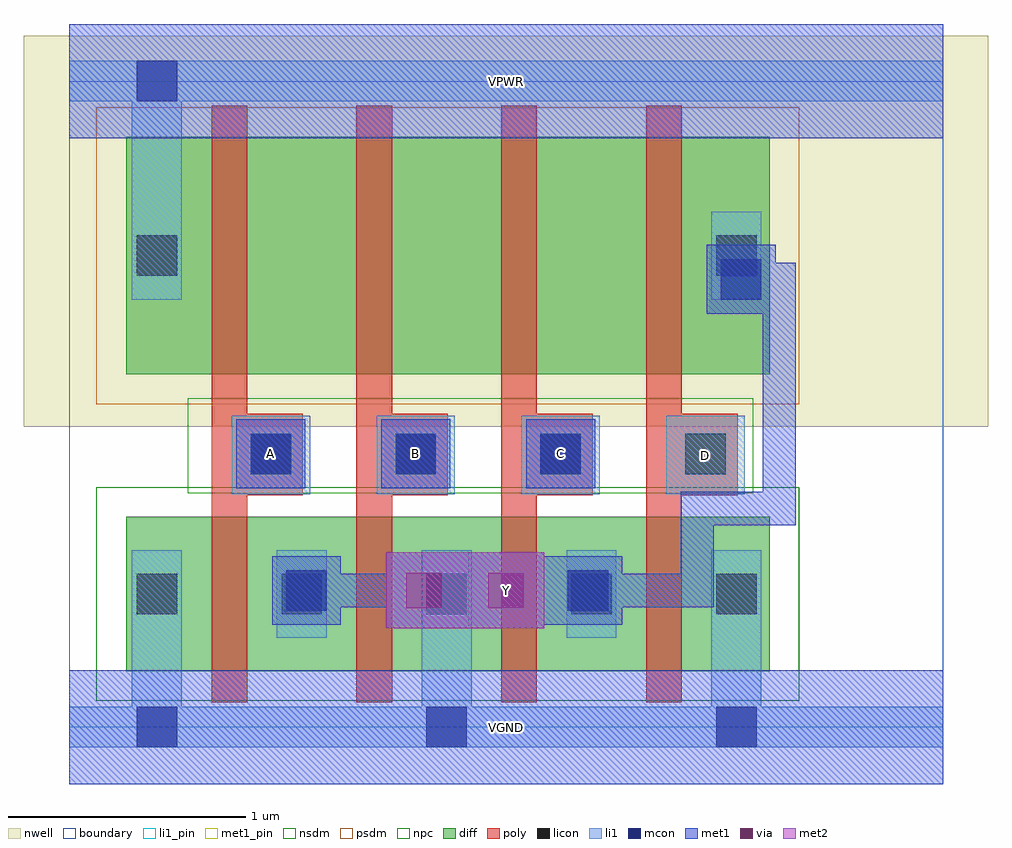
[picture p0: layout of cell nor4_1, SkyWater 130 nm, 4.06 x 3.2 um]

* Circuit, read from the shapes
.subckt nor4_1 A B C D VGND VPWR Y
XM1 Y A VGND VSUBS sky130_fd_pr__nfet_01v8 w=0.65 l=0.15
XM2 VGND B Y VSUBS sky130_fd_pr__nfet_01v8 w=0.65 l=0.15
XM3 Y C VGND VSUBS sky130_fd_pr__nfet_01v8 w=0.65 l=0.15
XM4 VGND D Y VSUBS sky130_fd_pr__nfet_01v8 w=0.65 l=0.15
XM5 n1 A VPWR n2 sky130_fd_pr__pfet_01v8 w=1 l=0.15
XM6 n3 B n1 n2 sky130_fd_pr__pfet_01v8 w=1 l=0.15
XM7 n4 C n3 n2 sky130_fd_pr__pfet_01v8 w=1 l=0.15
XM8 Y D n4 n2 sky130_fd_pr__pfet_01v8 w=1 l=0.15
.ends

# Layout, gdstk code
import gdstk
lib = gdstk.Library(unit=1e-6, precision=1e-09)
def R(c, l, rs):  # rectangles x0, y0, x1, y1
    for r in rs: c.add(gdstk.rectangle(r[:2], r[2:], *l))
def A(c, l, x, y, w, h, nx, ny, dx, dy):  # array of equal rectangles
    R(c, l, [(x+i*dx, y+j*dy, x+i*dx+w, y+j*dy+h) for i in range(nx) for j in range(ny)])
nwell = (64, 20)
diff = (65, 20)
poly = (66, 20)
licon = (66, 44)
li1_pin = (67, 16)
li1 = (67, 20)
mcon = (67, 44)
met1_pin = (68, 16)
met1 = (68, 20)
via = (68, 44)
met2 = (69, 20)
nsdm = (93, 44)
psdm = (94, 20)
npc = (95, 20)
boundary = (235, 4)

nor4_1 = lib.new_cell('nor4_1')
R(nor4_1, nwell, [(-0.19,1.265,3.87,2.91), (0,1.265,3.68,2.91)])
R(nor4_1, diff, [(0.24,0.235,2.95,0.885), (0.24,1.485,2.95,2.485)])
A(nor4_1, poly, 0.6, 0.105, 0.15, 2.51, 4, 1, 0.61, 0)
A(nor4_1, poly, 0.6, 0.975, 0.385, 0.345, 4, 1, 0.61, 0)
A(nor4_1, licon, 0.285, 0.475, 0.17, 0.17, 5, 1, 0.61, 0)
A(nor4_1, licon, 0.765, 1.065, 0.17, 0.17, 4, 1, 0.61, 0)
R(nor4_1, licon, [(0.285,1.9,0.455,2.07), (2.725,1.9,2.895,2.07)])
R(nor4_1, li1_pin, [(2.515,0.98,2.845,1.31)])
A(nor4_1, li1, 0.265, -0.085, 0.21, 0.83, 3, 1, 1.22, 0)
A(nor4_1, li1, 0.685, 0.98, 0.33, 0.33, 4, 1, 0.61, 0)
R(nor4_1, li1, [(0,-0.085,3.68,0.085), (0.875,0.375,1.085,0.745), (2.095,0.375,2.305,0.745), (0.265,1.8,0.475,2.805), (2.705,1.8,2.915,2.17), (0,2.635,3.68,2.805)])
A(nor4_1, mcon, 0.285, -0.085, 0.17, 0.17, 3, 1, 1.22, 0)
A(nor4_1, mcon, 0.765, 1.065, 0.17, 0.17, 3, 1, 0.61, 0)
R(nor4_1, mcon, [(0.915,0.49,1.085,0.66), (2.1,0.49,2.27,0.66), (2.745,1.8,2.915,1.97), (0.285,2.635,0.455,2.805)])
A(nor4_1, met1_pin, 0.705, 1.005, 0.29, 0.29, 3, 1, 0.61, 0)
R(nor4_1, met1_pin, [(0,-0.24,3.68,0.24), (1.68,0.415,2,0.735), (0,2.48,3.68,2.96)])
A(nor4_1, met1, 0.705, 1.005, 0.29, 0.29, 3, 1, 0.61, 0)
R(nor4_1, met1, [(0,-0.24,3.68,0.24), (1.335,0.415,1.655,0.735), (1.655,0.415,1.68,0.735), (1.68,0.415,2,0.735), (0.855,0.43,1.145,0.72), (2,0.43,2.04,0.72), (2.04,0.43,2.33,0.72), (0.93,0.505,1.22,0.645), (1.08,0.505,1.565,0.645), (1.565,0.505,1.68,0.645), (1.655,0.505,1.77,0.645), (1.77,0.505,2.255,0.645), (2.115,0.505,2.715,0.645), (2.575,0.505,2.715,0.99), (2.575,0.85,3.06,0.99), (2.92,0.85,3.06,1.795), (2.92,1.655,3.06,1.955), (2.685,1.74,2.975,2.03), (2.76,1.815,3.06,1.955), (0,2.48,3.68,2.96)])
R(nor4_1, via, [(1.42,0.5,1.57,0.65), (1.765,0.5,1.915,0.65)])
R(nor4_1, met2, [(1.335,0.415,1.655,0.735), (1.655,0.415,1.68,0.735), (1.68,0.415,2,0.735), (1.425,0.505,1.91,0.645)])
R(nor4_1, nsdm, [(0.115,0.11,3.075,1.01)])
R(nor4_1, psdm, [(0.115,1.36,3.075,2.61)])
R(nor4_1, npc, [(0.5,0.985,2.88,1.385)])
R(nor4_1, boundary, [(0,0,3.68,2.72)])
nor4_1.add(gdstk.Label('D', (2.68,1.145), layer=67, texttype=5))
nor4_1.add(gdstk.Label('A', (0.85,1.15), layer=68, texttype=5))
nor4_1.add(gdstk.Label('B', (1.46,1.15), layer=68, texttype=5))
nor4_1.add(gdstk.Label('C', (2.07,1.15), layer=68, texttype=5))
nor4_1.add(gdstk.Label('Y', (1.84,0.575), layer=68, texttype=5))
nor4_1.add(gdstk.Label('VPWR', (1.84,2.72), layer=68, texttype=5))
nor4_1.add(gdstk.Label('VGND', (1.84,0), layer=68, texttype=5))
nor4_1.add(gdstk.Label('D', (2.68,1.145), layer=67, texttype=16))
nor4_1.add(gdstk.Label('A', (0.85,1.15), layer=68, texttype=16))
nor4_1.add(gdstk.Label('B', (1.46,1.15), layer=68, texttype=16))
nor4_1.add(gdstk.Label('C', (2.07,1.15), layer=68, texttype=16))
nor4_1.add(gdstk.Label('Y', (1.84,0.575), layer=68, texttype=16))
nor4_1.add(gdstk.Label('VPWR', (1.84,2.72), layer=68, texttype=16))
nor4_1.add(gdstk.Label('VGND', (1.84,0), layer=68, texttype=16))

lib.write_gds('nor4_1.gds')
